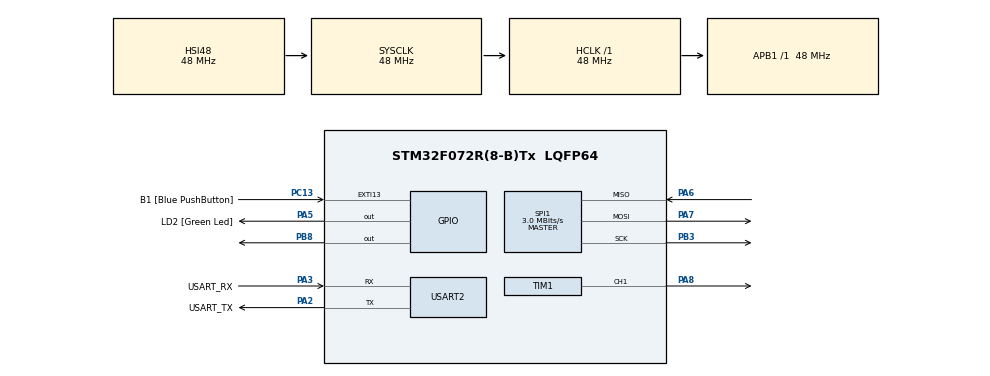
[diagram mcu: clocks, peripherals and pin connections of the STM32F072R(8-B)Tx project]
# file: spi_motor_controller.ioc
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Mcu.Family=STM32F0
Mcu.Name=STM32F072R(8-B)Tx
Mcu.Package=LQFP64
PA13.GPIO_Label=TMS
PA13.Mode=Serial_Wire
PA13.Signal=SYS_SWDIO
PA14.GPIO_Label=TCK
PA14.Mode=Serial_Wire
PA14.Signal=SYS_SWCLK
PA2.GPIO_Label=USART_TX
PA2.GPIO_Mode=GPIO_MODE_AF_PP
PA2.GPIO_PuPd=GPIO_NOPULL
PA2.GPIO_Speed=GPIO_SPEED_FREQ_LOW
PA2.Mode=Asynchronous
PA2.Signal=USART2_TX
PA3.GPIO_Label=USART_RX
PA3.GPIO_Mode=GPIO_MODE_AF_PP
PA3.GPIO_PuPd=GPIO_NOPULL
PA3.GPIO_Speed=GPIO_SPEED_FREQ_LOW
PA3.Mode=Asynchronous
PA3.Signal=USART2_RX
PA5.GPIO_Label=LD2 [Green Led]
PA5.GPIO_Mode=GPIO_MODE_OUTPUT_PP
PA5.GPIO_PuPd=GPIO_NOPULL
PA5.GPIO_Speed=GPIO_SPEED_FREQ_LOW
PA5.Signal=GPIO_Output
PA6.Mode=Full_Duplex_Master
PA6.Signal=SPI1_MISO
PA7.Mode=Full_Duplex_Master
PA7.Signal=SPI1_MOSI
PA8.Signal=S_TIM1_CH1
PB3.Mode=Full_Duplex_Master
PB3.Signal=SPI1_SCK
PB8.Signal=GPIO_Output
PC13.GPIO_Label=B1 [Blue PushButton]
PC13.GPIO_ModeDefaultEXTI=GPIO_MODE_IT_FALLING
PC13.Signal=GPXTI13
PC14-OSC32_IN.Mode=LSE-External-Oscillator
PC14-OSC32_IN.Signal=RCC_OSC32_IN
PC15-OSC32_OUT.Mode=LSE-External-Oscillator
PC15-OSC32_OUT.Signal=RCC_OSC32_OUT
PF0-OSC_IN.Mode=HSE-External-Clock-Source
PF0-OSC_IN.Signal=RCC_OSC_IN
PF1-OSC_OUT.Signal=RCC_OSC_OUT
ProjectManager.HeapSize=0x200
ProjectManager.StackSize=0x400
ProjectManager.TargetToolchain=STM32CubeIDE
RCC.AHBFreq_Value=48000000
RCC.APB1Freq_Value=48000000
RCC.APB1TimFreq_Value=48000000
RCC.FLatency-AdvancedSettings=FLASH_LATENCY_1
RCC.HCLKFreq_Value=48000000
RCC.PLLDivider=RCC_PREDIV_DIV2
RCC.PLLMUL=RCC_PLL_MUL12
RCC.PREFETCH_ENABLE-AdvancedSettings=1
RCC.SYSCLKFreq_VALUE=48000000
RCC.SYSCLKSource=RCC_SYSCLKSOURCE_HSI48
SH.S_TIM1_CH1.0=TIM1_CH1,PWM Generation1 CH1
SPI1.BaudRatePrescaler=SPI_BAUDRATEPRESCALER_16
SPI1.CLKPhase=SPI_PHASE_1EDGE
SPI1.CalculateBaudRate=3.0 MBits/s
SPI1.DataSize=SPI_DATASIZE_8BIT
SPI1.Direction=SPI_DIRECTION_2LINES
SPI1.Mode=SPI_MODE_MASTER
SPI1.VirtualType=VM_MASTER
TIM1.Channel-PWM\ Generation1\ CH1=TIM_CHANNEL_1
TIM1.Period=64000
TIM1.Prescaler=14
USART2.VirtualMode=VM_ASYNC
USART2.VirtualMode-Asynchronous=VM_ASYNC
VP_TIM1_VS_ClockSourceINT.Mode=Internal
board=NUCLEO-F072RB

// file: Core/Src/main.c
/* USER CODE BEGIN Header */
/**
  ******************************************************************************
  * @file           : main.c
  * @brief          : Main program body
  ******************************************************************************
  * @attention
  *
  * Copyright (c) 2025 STMicroelectronics.
  * All rights reserved.
  *
  * This software is licensed under terms that can be found in the LICENSE file
  * in the root directory of this software component.
  * If no LICENSE file comes with this software, it is provided AS-IS.
  *
  ******************************************************************************
  */
/* USER CODE END Header */
#include "main.h"
#include "stm32f0xx_hal_spi.h"
#include "stm32f0xx_hal_tim.h"

/* USER CODE BEGIN PD */
#define MCP3004_START_BIT 0x01 // Start bit for MCP3004
#define MCP3004_CHANNEL 0x80 // Single-ended channel 0
#define DUMMY 0x00
#define PWM_MIN_COUNTS 3200
#define ADC_MAX_VALUE 1023
/* USER CODE END PD */

SPI_HandleTypeDef hspi1;

TIM_HandleTypeDef htim1;

UART_HandleTypeDef huart2;

/* USER CODE BEGIN PV */
uint8_t spiTxData[3];
uint8_t spiRxData[3];
uint32_t adcValue = 0;
uint32_t pwmValue = 0;
/* USER CODE END PV */

void SystemClock_Config(void);
static void MX_GPIO_Init(void);
static void MX_USART2_UART_Init(void);
static void MX_SPI1_Init(void);
static void MX_TIM1_Init(void);

int main(void)
{

  /* MCU Configuration--------------------------------------------------------*/

  /* Reset of all peripherals, Initializes the Flash interface and the Systick. */
  HAL_Init();

  /* Configure the system clock */
  SystemClock_Config();

  /* Initialize all configured peripherals */
  MX_GPIO_Init();
  MX_USART2_UART_Init();
  MX_SPI1_Init();
  MX_TIM1_Init();
  /* USER CODE BEGIN 2 */
  HAL_TIM_PWM_Start(&htim1, TIM_CHANNEL_1); // Start PWM on Timer 1, Channel 1
  HAL_GPIO_WritePin(GPIOB, GPIO_PIN_8, GPIO_PIN_SET); // Set CS pin (PB8) initially high
  /* USER CODE END 2 */

  /* Infinite loop */
  /* USER CODE BEGIN WHILE */
  while (1)
  {
	// Prepare SPI Transmission Buffer
	spiTxData[0] = MCP3004_START_BIT; // Start bit
	spiTxData[1] = MCP3004_CHANNEL;   // Single-ended mode, channel 0
	spiTxData[2] = DUMMY; 			  // Empty bit for alignment

	HAL_GPIO_WritePin(GPIOB, GPIO_PIN_8, GPIO_PIN_RESET); // Pull CS line low to start communication

	HAL_SPI_TransmitReceive(&hspi1, spiTxData, spiRxData, 3, HAL_MAX_DELAY);

	HAL_GPIO_WritePin(GPIOB, GPIO_PIN_8, GPIO_PIN_SET); // CS high after transaction

	adcValue = ((spiRxData[1] & 0x03) << 8) | spiRxData[2]; // Extract 10 bit ADC value

	pwmValue = PWM_MIN_COUNTS + (adcValue * PWM_MIN_COUNTS) / ADC_MAX_VALUE; // Map ADC value to PWM range (5-10% of 64000 count period)

	__HAL_TIM_SET_COMPARE(&htim1, TIM_CHANNEL_1, pwmValue); // Set PWM duty cycle

	HAL_Delay(10);
    /* USER CODE END WHILE */

  }
}

void SystemClock_Config(void)
{
  RCC_OscInitTypeDef RCC_OscInitStruct = {0};
  RCC_ClkInitTypeDef RCC_ClkInitStruct = {0};
  RCC_PeriphCLKInitTypeDef PeriphClkInit = {0};

  /** Initializes the RCC Oscillators according to the specified parameters
  * in the RCC_OscInitTypeDef structure.
  */
  RCC_OscInitStruct.OscillatorType = RCC_OSCILLATORTYPE_HSI48;
  RCC_OscInitStruct.HSI48State = RCC_HSI48_ON;
  RCC_OscInitStruct.PLL.PLLState = RCC_PLL_NONE;
  if (HAL_RCC_OscConfig(&RCC_OscInitStruct) != HAL_OK)
  {
    Error_Handler();
  }

  /** Initializes the CPU, AHB and APB buses clocks
  */
  RCC_ClkInitStruct.ClockType = RCC_CLOCKTYPE_HCLK|RCC_CLOCKTYPE_SYSCLK
                              |RCC_CLOCKTYPE_PCLK1;
  RCC_ClkInitStruct.SYSCLKSource = RCC_SYSCLKSOURCE_HSI48;
  RCC_ClkInitStruct.AHBCLKDivider = RCC_SYSCLK_DIV1;
  RCC_ClkInitStruct.APB1CLKDivider = RCC_HCLK_DIV1;

  if (HAL_RCC_ClockConfig(&RCC_ClkInitStruct, FLASH_LATENCY_1) != HAL_OK)
  {
    Error_Handler();
  }
  PeriphClkInit.PeriphClockSelection = RCC_PERIPHCLK_USART2;
  PeriphClkInit.Usart2ClockSelection = RCC_USART2CLKSOURCE_PCLK1;
  if (HAL_RCCEx_PeriphCLKConfig(&PeriphClkInit) != HAL_OK)
  {
    Error_Handler();
  }
}

static void MX_SPI1_Init(void)
{

  /* SPI1 parameter configuration*/
  hspi1.Instance = SPI1;
  hspi1.Init.Mode = SPI_MODE_MASTER;
  hspi1.Init.Direction = SPI_DIRECTION_2LINES;
  hspi1.Init.DataSize = SPI_DATASIZE_8BIT;
  hspi1.Init.CLKPolarity = SPI_POLARITY_LOW;
  hspi1.Init.CLKPhase = SPI_PHASE_1EDGE;
  hspi1.Init.NSS = SPI_NSS_SOFT;
  hspi1.Init.BaudRatePrescaler = SPI_BAUDRATEPRESCALER_16;
  hspi1.Init.FirstBit = SPI_FIRSTBIT_MSB;
  hspi1.Init.TIMode = SPI_TIMODE_DISABLE;
  hspi1.Init.CRCCalculation = SPI_CRCCALCULATION_DISABLE;
  hspi1.Init.CRCPolynomial = 7;
  hspi1.Init.CRCLength = SPI_CRC_LENGTH_DATASIZE;
  hspi1.Init.NSSPMode = SPI_NSS_PULSE_ENABLE;
  if (HAL_SPI_Init(&hspi1) != HAL_OK)
  {
    Error_Handler();
  }

}

static void MX_TIM1_Init(void)
{

  TIM_ClockConfigTypeDef sClockSourceConfig = {0};
  TIM_MasterConfigTypeDef sMasterConfig = {0};
  TIM_OC_InitTypeDef sConfigOC = {0};
  TIM_BreakDeadTimeConfigTypeDef sBreakDeadTimeConfig = {0};

  htim1.Instance = TIM1;
  htim1.Init.Prescaler = 14;
  htim1.Init.CounterMode = TIM_COUNTERMODE_UP;
  htim1.Init.Period = 64000;
  htim1.Init.ClockDivision = TIM_CLOCKDIVISION_DIV1;
  htim1.Init.RepetitionCounter = 0;
  htim1.Init.AutoReloadPreload = TIM_AUTORELOAD_PRELOAD_DISABLE;
  if (HAL_TIM_Base_Init(&htim1) != HAL_OK)
  {
    Error_Handler();
  }
  sClockSourceConfig.ClockSource = TIM_CLOCKSOURCE_INTERNAL;
  if (HAL_TIM_ConfigClockSource(&htim1, &sClockSourceConfig) != HAL_OK)
  {
    Error_Handler();
  }
  if (HAL_TIM_PWM_Init(&htim1) != HAL_OK)
  {
    Error_Handler();
  }
  sMasterConfig.MasterOutputTrigger = TIM_TRGO_RESET;
  sMasterConfig.MasterSlaveMode = TIM_MASTERSLAVEMODE_DISABLE;
  if (HAL_TIMEx_MasterConfigSynchronization(&htim1, &sMasterConfig) != HAL_OK)
  {
    Error_Handler();
  }
  sConfigOC.OCMode = TIM_OCMODE_PWM1;
  sConfigOC.Pulse = 0;
  sConfigOC.OCPolarity = TIM_OCPOLARITY_HIGH;
  sConfigOC.OCNPolarity = TIM_OCNPOLARITY_HIGH;
  sConfigOC.OCFastMode = TIM_OCFAST_DISABLE;
  sConfigOC.OCIdleState = TIM_OCIDLESTATE_RESET;
  sConfigOC.OCNIdleState = TIM_OCNIDLESTATE_RESET;
  if (HAL_TIM_PWM_ConfigChannel(&htim1, &sConfigOC, TIM_CHANNEL_1) != HAL_OK)
  {
    Error_Handler();
  }
  sBreakDeadTimeConfig.OffStateRunMode = TIM_OSSR_DISABLE;
  sBreakDeadTimeConfig.OffStateIDLEMode = TIM_OSSI_DISABLE;
  sBreakDeadTimeConfig.LockLevel = TIM_LOCKLEVEL_OFF;
  sBreakDeadTimeConfig.DeadTime = 0;
  sBreakDeadTimeConfig.BreakState = TIM_BREAK_DISABLE;
  sBreakDeadTimeConfig.BreakPolarity = TIM_BREAKPOLARITY_HIGH;
  sBreakDeadTimeConfig.AutomaticOutput = TIM_AUTOMATICOUTPUT_DISABLE;
  if (HAL_TIMEx_ConfigBreakDeadTime(&htim1, &sBreakDeadTimeConfig) != HAL_OK)
  {
    Error_Handler();
  }
  HAL_TIM_MspPostInit(&htim1);

}

static void MX_USART2_UART_Init(void)
{

  huart2.Instance = USART2;
  huart2.Init.BaudRate = 38400;
  huart2.Init.WordLength = UART_WORDLENGTH_8B;
  huart2.Init.StopBits = UART_STOPBITS_1;
  huart2.Init.Parity = UART_PARITY_NONE;
  huart2.Init.Mode = UART_MODE_TX_RX;
  huart2.Init.HwFlowCtl = UART_HWCONTROL_NONE;
  huart2.Init.OverSampling = UART_OVERSAMPLING_16;
  huart2.Init.OneBitSampling = UART_ONE_BIT_SAMPLE_DISABLE;
  huart2.AdvancedInit.AdvFeatureInit = UART_ADVFEATURE_NO_INIT;
  if (HAL_UART_Init(&huart2) != HAL_OK)
  {
    Error_Handler();
  }

}

static void MX_GPIO_Init(void)
{
  GPIO_InitTypeDef GPIO_InitStruct = {0};

  /* GPIO Ports Clock Enable */
  __HAL_RCC_GPIOC_CLK_ENABLE();
  __HAL_RCC_GPIOF_CLK_ENABLE();
  __HAL_RCC_GPIOA_CLK_ENABLE();
  __HAL_RCC_GPIOB_CLK_ENABLE();

  /*Configure GPIO pin Output Level */
  HAL_GPIO_WritePin(LD2_GPIO_Port, LD2_Pin, GPIO_PIN_RESET);

  /*Configure GPIO pin Output Level */
  HAL_GPIO_WritePin(GPIOB, GPIO_PIN_8, GPIO_PIN_RESET);

  /*Configure GPIO pin : B1_Pin */
  GPIO_InitStruct.Pin = B1_Pin;
  GPIO_InitStruct.Mode = GPIO_MODE_IT_FALLING;
  GPIO_InitStruct.Pull = GPIO_NOPULL;
  HAL_GPIO_Init(B1_GPIO_Port, &GPIO_InitStruct);

  /*Configure GPIO pin : LD2_Pin */
  GPIO_InitStruct.Pin = LD2_Pin;
  GPIO_InitStruct.Mode = GPIO_MODE_OUTPUT_PP;
  GPIO_InitStruct.Pull = GPIO_NOPULL;
  GPIO_InitStruct.Speed = GPIO_SPEED_FREQ_LOW;
  HAL_GPIO_Init(LD2_GPIO_Port, &GPIO_InitStruct);

  /*Configure GPIO pin : PB8 */
  GPIO_InitStruct.Pin = GPIO_PIN_8;
  GPIO_InitStruct.Mode = GPIO_MODE_OUTPUT_PP;
  GPIO_InitStruct.Pull = GPIO_NOPULL;
  GPIO_InitStruct.Speed = GPIO_SPEED_FREQ_LOW;
  HAL_GPIO_Init(GPIOB, &GPIO_InitStruct);

}

void Error_Handler(void)
{
  __disable_irq();
  while (1)
  {
  }
}
